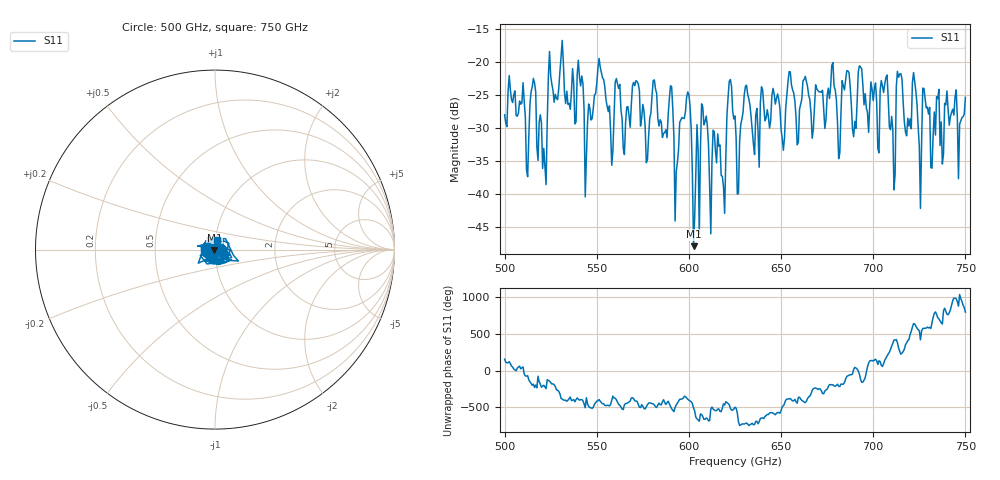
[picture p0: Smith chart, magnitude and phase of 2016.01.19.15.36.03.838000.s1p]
!Created with skrf (http://scikit-rf.org).
# GHz S RI R 50.0
!freq ReS11 ImS11
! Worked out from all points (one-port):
!   401 points, 500 GHz to 750 GHz, reference 50 ohm
!   lowest |S11| = -47.8 dB at 602.5 GHz (marker M1), VSWR 1.01, Z = 49.7 - j0.209 ohm
!   |S11| at or under -10 dB: start of sweep to end of sweep
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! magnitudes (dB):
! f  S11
! 500 GHz  -28.0
! 512.5 GHz  -37.3
! 515.6 GHz  -22.5
! 521.9 GHz  -35.7
! 525 GHz  -22.1
! 531.2 GHz  -16.8
! 541.2 GHz  -23.6
! 544.4 GHz  -34.4
! 551.2 GHz  -19.5
! 557.5 GHz  -30.4
! 562.5 GHz  -23.4
! 577.5 GHz  -34.8
! 581.2 GHz  -22.7
! 590 GHz  -23.6
! 593.8 GHz  -35.2
! 599.4 GHz  -24.5
! 602.5 GHz  -47.8
! 608.1 GHz  -29.5
! 618.8 GHz  -38.8
! 621.9 GHz  -22.9
! 625 GHz  -28.2
! 656.2 GHz  -24.2
! 687.5 GHz  -23.8
! 706.2 GHz  -23.4
! 710.6 GHz  -30.2
! 714.4 GHz  -21.8
! 718.8 GHz  -28.5
! 750 GHz  -25.4
